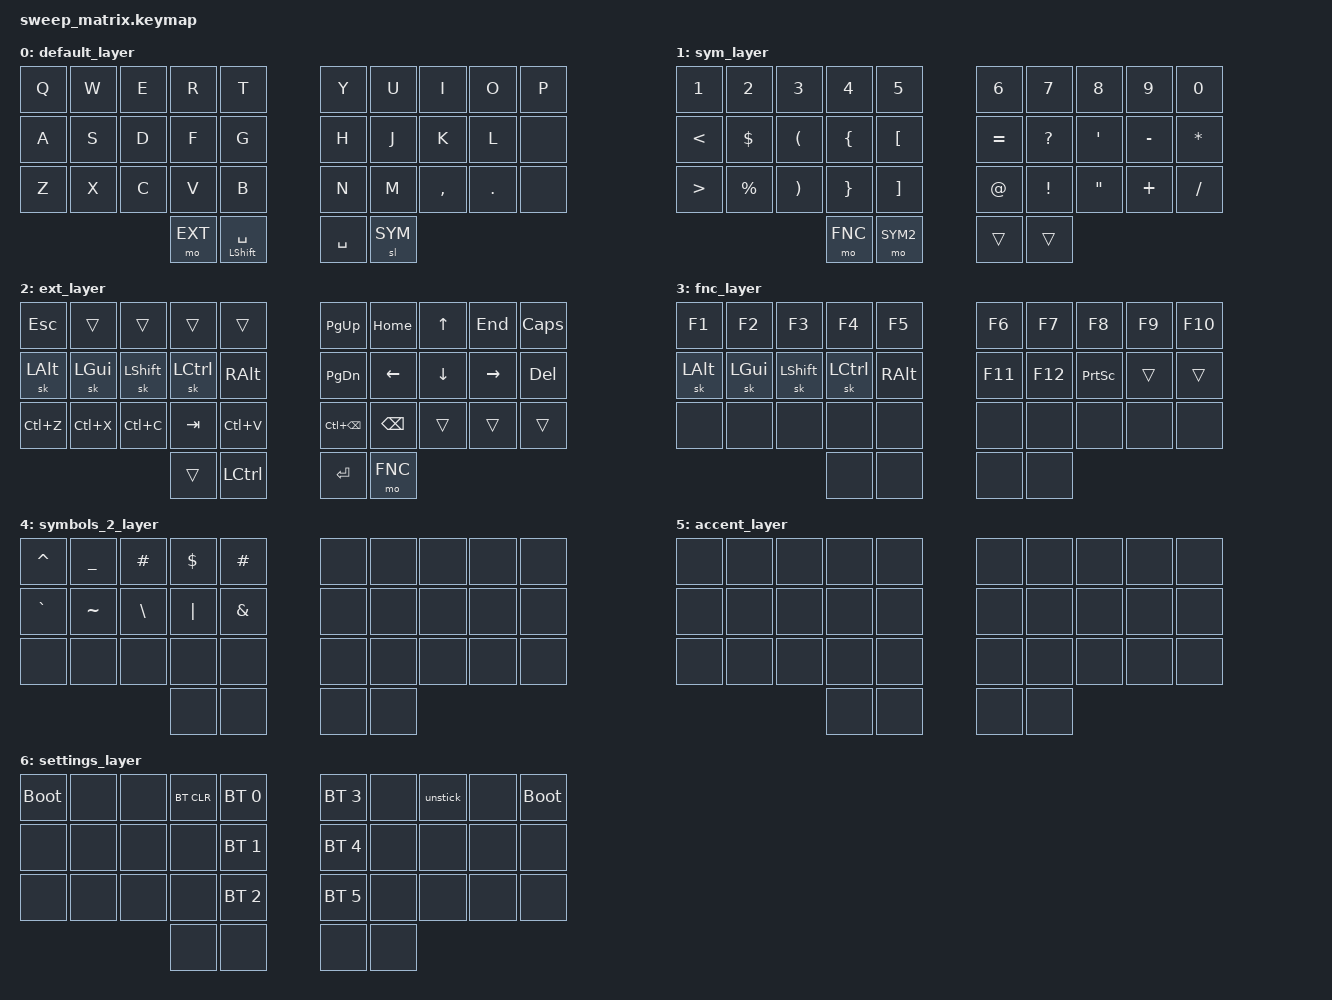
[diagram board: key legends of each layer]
/*
 * Copyright (c) 2020 The ZMK Contributors
 *
 * SPDX-License-Identifier: MIT
 */

#include <behaviors.dtsi>
#include <dt-bindings/zmk/keys.h>
#include <dt-bindings/zmk/bt.h>

// Layer definitions
#define BASE     0
#define SYM      1
#define EXT      2
#define FNC      3
#define SYM2     4
#define ACCENT   5
#define SETTINGS 6
// -----------------

&mt {
    // flavor = "tap-preferred";
    // tapping_term_ms = <200>;
};

&sk {
    ignore-modifiers;
};

/ {
    macros {
        // sometimes my device thinks a modifier is being held down
        // pressing all modifiers fixes it.
        unstick: unstick {
            label = "ZM_unstick";
            compatible = "zmk,behavior-macro";
            #binding-cells = <0>;
            bindings = <&kp LSHIFT &kp RSHIFT &kp LCTRL &kp RCTRL
                        &kp LALT &kp RALT &kp LGUI &kp RGUI>;
        };
    };

    combos {
        compatible = "zmk,combos";

        // both right thumb keys
        combo_accent {
            timeout-ms = <300>;
            key-positions = <32 33>;
            bindings = <&mo ACCENT>;
        };

        // internal-left & external-right thumb keys
        combo_sym2 {
            timeout-ms = <200>;
            key-positions = <31 33>;
            bindings = <&mo SYM2>;
        };

        // both left thumb keys
        combo_settings {
            timeout-ms = <300>;
            key-positions = <30 31>;
            bindings = <&mo SETTINGS>;
        };
    };

    keymap {
        compatible = "zmk,keymap";

        // Base alpha layer
        default_layer {
            bindings = <
                &kp Q &kp W &kp E &kp R &kp T           &kp Y &kp U  &kp I     &kp O   &kp P
                &kp A &kp S &kp D &kp F &kp G           &kp H &kp J  &kp K     &kp L   &none
                &kp Z &kp X &kp C &kp V &kp B           &kp N &kp M  &kp COMMA &kp DOT &none
                &mo EXT &mt LSHIFT SPACE                &kp SPACE   &sl SYM
            >;
        };

        // Numbers and high frequency symbols
        sym_layer {
            bindings = <
                // row 1
                &kp N1    &kp N2    &kp N3    &kp N4    &kp N5
                                                         &kp N6    &kp N7    &kp N8    &kp N9    &kp N0
                // row 2
                &kp LT    &kp DLLR  &kp LPAR  &kp LBRC  &kp LBKT
                                                         &kp EQUAL &kp QMARK &kp SQT   &kp MINUS &kp ASTRK
                // row 3
                &kp GT    &kp PRCNT &kp RPAR  &kp RBRC  &kp RBKT
                                                         &kp AT    &kp EXCL  &kp DQT   &kp PLUS  &kp FSLH
                // thumbs
                                    &mo FNC  &mo SYM2   &trans     &trans
            >;
        };

        // Main modifiers and arrow keys
        ext_layer {
            bindings = <
                // row 1
                &kp ESC   &trans     &trans     &trans   &trans
                                                          &kp PG_UP &kp HOME &kp UP    &kp END   &kp CAPS
                // row 2
                &sk LALT  &sk LGUI   &sk LSHIFT &sk LCTRL &kp RALT
                                                          &kp PG_DN &kp LEFT &kp DOWN &kp RIGHT &kp DEL
                // row 3
                &kp LC(Z) &kp LC(X)  &kp LC(C)  &kp TAB   &kp LC(V)
                                                          &kp LC(BSPC) &kp BSPC &trans &trans   &trans
                // thumbs
                                   &trans      &kp LCTRL &kp ENTER  &mo FNC
            >;
        };

        // Function keys with modifiers
        fnc_layer {
            bindings = <
                // row 1
                &kp F1   &kp F2   &kp F3   &kp F4   &kp F5
                                                       &kp F6   &kp F7   &kp F8   &kp F9   &kp F10
                // row 2
                &sk LALT &sk LGUI &sk LSHIFT &sk LCTRL &kp RALT
                                                       &kp F11  &kp F12  &kp PRINTSCREEN &trans &trans
                // row 3
                &none    &none    &none    &none    &none
                                                       &none    &none    &none    &none    &none
                // thumbs
                                   &none    &none      &none    &none
            >;
        };

        // Low frequency symbols.
        symbols_2_layer {
            bindings = <
                // row 1
                &kp CARET  &kp UNDER  &kp POUND &kp DLLR &kp HASH
                                                              &none &none &none &none &none
                // row 2
                &kp GRAVE  &kp TILDE  &kp BSLH  &kp PIPE &kp AMPS
                                                              &none &none &none &none &none
                // row 3
                &none      &none      &none     &none    &none
                                                              &none &none &none &none &none
                // thumbs
                                       &none    &none    &none &none
            >;
        };

        // Used to type regional accents. (all none for now)
        accent_layer {
            bindings = <
                &none &none &none &none &none         &none &none &none &none &none
                &none &none &none &none &none         &none &none &none &none &none
                &none &none &none &none &none         &none &none &none &none &none
                              &none &none             &none &none
            >;
        };

        // Used to change the keyboard's settings.
        settings_layer {
            bindings = <
                &bootloader &none &none   &bt BT_CLR   &bt BT_SEL 0
                                                     &bt BT_SEL 3 &none &unstick &none &bootloader
                &none       &none &none   &none        &bt BT_SEL 1
                                                     &bt BT_SEL 4 &none &none    &none &none
                &none       &none &none   &none        &bt BT_SEL 2
                                                     &bt BT_SEL 5 &none &none    &none &none
                              &none &none             &none       &none
            >;
        };
    };
};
